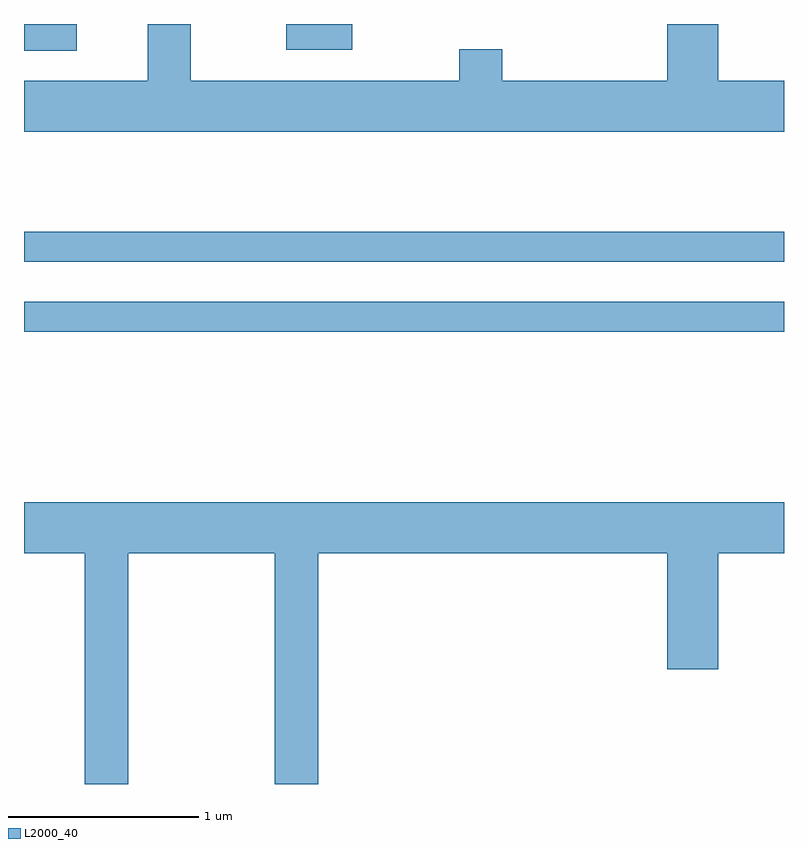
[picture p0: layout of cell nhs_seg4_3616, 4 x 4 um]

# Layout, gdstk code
import gdstk
lib = gdstk.Library(unit=1e-6, precision=1e-09)
def R(c, l, rs):  # rectangles x0, y0, x1, y1
    for r in rs: c.add(gdstk.rectangle(r[:2], r[2:], *l))
def P(c, l, *ps):  # polygons
    for p in ps: c.add(gdstk.Polygon(p, *l))
L2000_40 = (2000, 40)

nhs_seg4_3616 = lib.new_cell('nhs_seg4_3616')
R(nhs_seg4_3616, L2000_40, [(291.611,1280.361,295.611,1280.519), (291.611,1280.731,295.611,1280.889), (291.611,1281.841,291.888,1281.982), (292.991,1281.846,293.338,1281.982)])
P(nhs_seg4_3616, L2000_40, [(295.611,1281.684),(295.264,1281.684),(295.264,1281.982),(294.996,1281.982),(294.996,1281.684),(294.129,1281.684),(294.129,1281.849),(293.901,1281.849),(293.901,1281.684),(292.489,1281.684),(292.489,1281.982),(292.261,1281.982),(292.261,1281.684),(291.611,1281.684),(291.611,1281.416),(295.611,1281.416)],
  [(292.159,1279.196),(292.931,1279.196),(292.931,1277.982),(293.159,1277.982),(293.159,1279.196),(294.996,1279.196),(294.996,1278.586),(295.264,1278.586),(295.264,1279.196),(295.611,1279.196),(295.611,1279.464),(291.611,1279.464),(291.611,1279.196),(291.931,1279.196),(291.931,1277.982),(292.159,1277.982)])

lib.write_gds('nhs_seg4_3616.gds')
